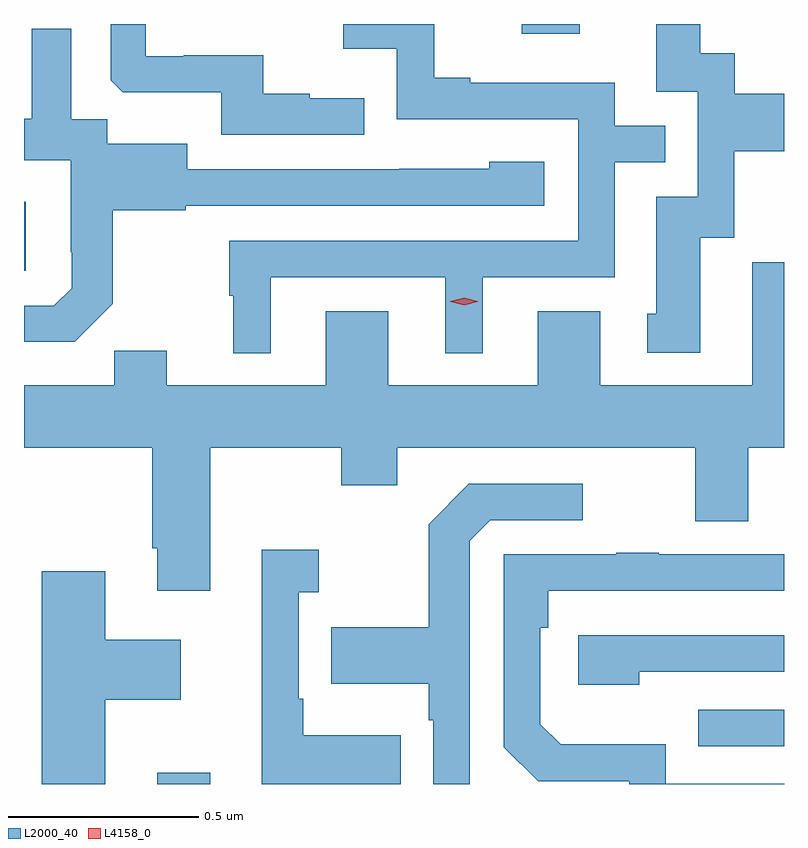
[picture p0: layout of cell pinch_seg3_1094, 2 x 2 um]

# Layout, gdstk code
import gdstk
lib = gdstk.Library(unit=1e-6, precision=1e-09)
def R(c, l, rs):  # rectangles x0, y0, x1, y1
    for r in rs: c.add(gdstk.rectangle(r[:2], r[2:], *l))
def P(c, l, *ps):  # polygons
    for p in ps: c.add(gdstk.Polygon(p, *l))
L2000_40 = (2000, 40)
L4158_0 = (4158, 0)

pinch_seg3_1094 = lib.new_cell('pinch_seg3_1094')
R(pinch_seg3_1094, L2000_40, [(256.007,702.695,256.147,702.724), (257.431,702.795,257.657,702.891), (255.657,704.046,255.661,704.227), (256.967,704.67,257.119,704.695)])
P(pinch_seg3_1094, L2000_40, [(256.553,704.5),(256.409,704.5),(256.409,704.512),(256.286,704.512),(256.286,704.613),(256.078,704.613),(256.078,704.61),(255.978,704.61),(255.978,704.695),(255.885,704.695),(255.885,704.547),(255.917,704.516),(256.176,704.516),(256.176,704.403),(256.553,704.403)],
  [(257.437,704.133),(257.526,704.133),(257.526,704.36),(257.657,704.36),(257.657,704.512),(257.527,704.512),(257.527,704.618),(257.437,704.618),(257.437,704.695),(257.321,704.695),(257.321,704.517),(257.43,704.517),(257.43,704.241),(257.321,704.241),(257.321,703.932),(257.297,703.932),(257.297,703.83),(257.437,703.83)],
  [(256.306,704.028),(256.766,704.028),(256.766,703.829),(256.864,703.829),(256.864,704.028),(257.211,704.028),(257.211,704.331),(257.345,704.331),(257.345,704.427),(257.211,704.427),(257.211,704.541),(256.831,704.541),(256.831,704.554),(256.737,704.554),(256.737,704.695),(256.497,704.695),(256.497,704.63),(256.638,704.63),(256.638,704.445),(257.115,704.445),(257.115,704.124),(256.197,704.124),(256.197,703.98),(256.208,703.98),(256.208,703.829),(256.306,703.829)],
  [(255.891,703.959),(255.891,704.205),(256.083,704.205),(256.083,704.217),(257.026,704.217),(257.026,704.332),(256.881,704.332),(256.881,704.314),(256.645,704.314),(256.645,704.313),(256.087,704.313),(256.087,704.38),(255.876,704.38),(255.876,704.444),(255.781,704.444),(255.781,704.683),(255.677,704.683),(255.677,704.446),(255.657,704.446),(255.657,704.336),(255.78,704.336),(255.78,704.095),(255.782,704.095),(255.782,704),(255.735,703.953),(255.657,703.953),(255.657,703.859),(255.791,703.859)],
  [(256.147,703.58),(256.492,703.58),(256.492,703.481),(256.639,703.481),(256.639,703.58),(257.423,703.58),(257.423,703.386),(257.563,703.386),(257.563,703.58),(257.657,703.58),(257.657,704.068),(257.574,704.068),(257.574,703.955),(257.573,703.955),(257.573,703.744),(257.173,703.744),(257.173,703.939),(257.009,703.939),(257.009,703.744),(256.615,703.744),(256.615,703.939),(256.451,703.939),(256.451,703.744),(256.033,703.744),(256.033,703.835),(255.895,703.835),(255.895,703.744),(255.657,703.744),(255.657,703.58),(255.995,703.58),(255.995,703.315),(256.007,703.315),(256.007,703.203),(256.147,703.203)],
  [(256.83,703.335),(256.884,703.389),(257.128,703.389),(257.128,703.485),(256.827,703.485),(256.722,703.379),(256.722,703.107),(256.465,703.107),(256.465,702.959),(256.722,702.959),(256.722,702.863),(256.734,702.863),(256.734,702.695),(256.83,702.695)],
  [(256.649,702.823),(256.392,702.823),(256.392,702.919),(256.38,702.919),(256.38,703.199),(256.432,703.199),(256.432,703.312),(256.283,703.312),(256.283,702.695),(256.649,702.695)],
  [(257.657,702.696),(257.346,702.696),(257.346,702.799),(257.069,702.799),(257.016,702.852),(257.016,703.106),(257.036,703.106),(257.036,703.203),(257.657,703.203),(257.657,703.299),(257.327,703.299),(257.327,703.304),(257.215,703.304),(257.215,703.299),(256.92,703.299),(256.92,702.792),(257.01,702.702),(257.25,702.702),(257.25,702.695),(257.657,702.695)],
  [(255.871,702.917),(256.069,702.917),(256.069,703.075),(255.871,703.075),(255.871,703.255),(255.704,703.255),(255.704,702.695),(255.871,702.695)],
  [(257.276,702.99),(257.657,702.99),(257.657,703.086),(257.115,703.086),(257.115,702.956),(257.276,702.956)])
P(pinch_seg3_1094, L4158_0, [(256.815,703.955),(256.779,703.964),(256.779,703.965),(256.779,703.965),(256.815,703.975),(256.851,703.965),(256.851,703.965),(256.851,703.964)])

lib.write_gds('pinch_seg3_1094.gds')
